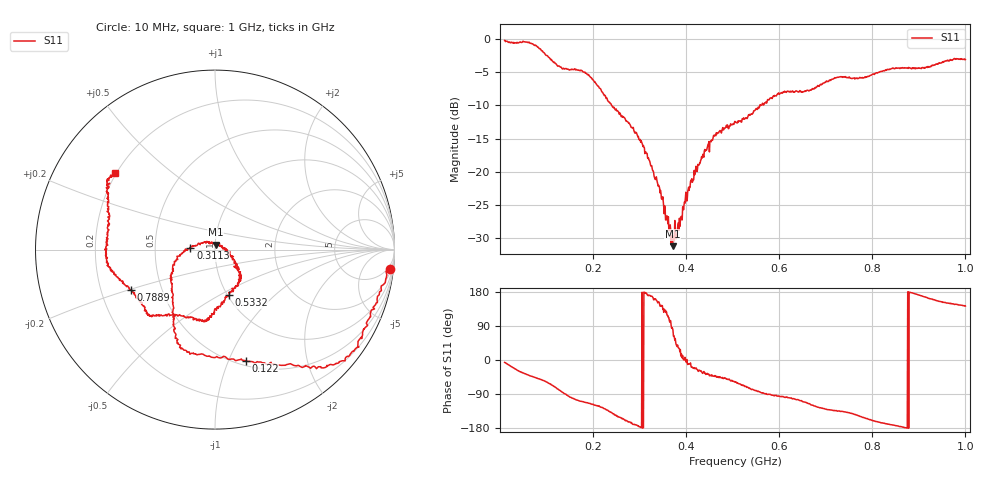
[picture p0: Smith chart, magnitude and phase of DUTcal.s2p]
! PocketVna 1.57  pocketvna.com
! Live measurements ((Reflection-S11) Linear 10000000-1000000000/1000 calibrated)
# Hz S RI R 50
! Hz  ReS11  ImS11  ReS21  ImS21  ReS12  ImS12  ReS22  ImS22
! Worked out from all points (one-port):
!   1000 points, 10 MHz to 1 GHz, reference 50 ohm
!   lowest |S11| = -31.3 dB at 370.7 MHz (marker M1), VSWR 1.06, Z = 50.2 + j2.73 ohm
!   |S11| at or under -10 dB: 240 MHz to 558.6 MHz (318.6 MHz wide, 79.8 % of centre)
!   S11 on the Smith chart (normalised r, x): 10 MHz: 3, -17; 122 MHz: 0.55, -1.16; 311.3 MHz: 0.76, +0.01; 533.2 MHz: 1.02, -0.55; 788.9 MHz: 0.33, -0.20; 1 GHz: 0.19, +0.33
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1e7  0.9744 -0.1102  0 0  0 0  0 0
4.171171e7  0.8221 -0.476  0 0  0 0  0 0
6.252252e7  0.7251 -0.6196  0 0  0 0  0 0
1.21982e8  0.1708 -0.6189  0 0  0 0  0 0
1.507207e8  -0.0859 -0.5834  0 0  0 0  0 0
1.754955e8  -0.1927 -0.5477  0 0  0 0  0 0
2.508108e8  -0.2402 -0.1583  0 0  0 0  0 0
3.112613e8  -0.1367 0.00738  0 0  0 0  0 0
3.40991e8  -0.0704 0.0352  0 0  0 0  0 0
3.707207e8  0.00315 0.0271  0 0  0 0  0 0
3.816216e8  0.0289 0.024  0 0  0 0  0 0
4.083784e8  0.075 -0.0139  0 0  0 0  0 0
4.440541e8  0.1152 -0.0889  0 0  0 0  0 0
5.054955e8  0.1231 -0.2043  0 0  0 0  0 0
5.332432e8  0.0786 -0.2522  0 0  0 0  0 0
6.075676e8  -0.0418 -0.3922  0 0  0 0  0 0
6.70991e8  -0.2089 -0.3689  0 0  0 0  0 0
7.373874e8  -0.3744 -0.3586  0 0  0 0  0 0
7.889189e8  -0.4696 -0.2244  0 0  0 0  0 0
8.354955e8  -0.5827 -0.1071  0 0  0 0  0 0
9.554054e8  -0.6011 0.321  0 0  0 0  0 0
1e9  -0.5571 0.4283  0 0  0 0  0 0
